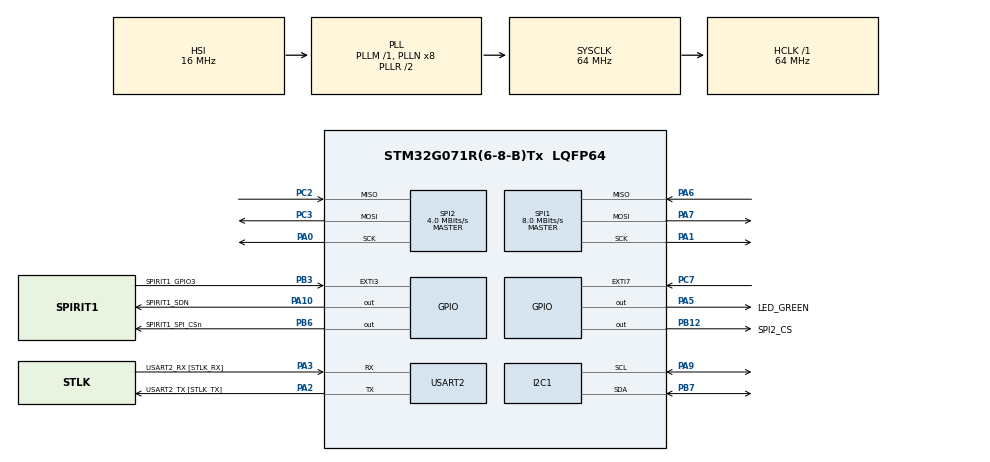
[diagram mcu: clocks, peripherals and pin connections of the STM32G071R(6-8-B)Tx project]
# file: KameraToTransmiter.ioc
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Dma.Request0=SPI2_RX
Dma.Request1=SPI1_TX
Dma.Request2=SPI2_TX
Dma.SPI1_TX.1.Direction=DMA_MEMORY_TO_PERIPH
Dma.SPI1_TX.1.EventEnable=DISABLE
Dma.SPI1_TX.1.Instance=DMA1_Channel4
Dma.SPI1_TX.1.MemDataAlignment=DMA_MDATAALIGN_BYTE
Dma.SPI1_TX.1.MemInc=DMA_MINC_ENABLE
Dma.SPI1_TX.1.Mode=DMA_NORMAL
Dma.SPI1_TX.1.PeriphDataAlignment=DMA_PDATAALIGN_BYTE
Dma.SPI1_TX.1.PeriphInc=DMA_PINC_DISABLE
Dma.SPI1_TX.1.Polarity=HAL_DMAMUX_REQ_GEN_RISING
Dma.SPI1_TX.1.Priority=DMA_PRIORITY_LOW
Dma.SPI1_TX.1.RequestNumber=1
Dma.SPI1_TX.1.SignalID=NONE
Dma.SPI1_TX.1.SyncEnable=DISABLE
Dma.SPI1_TX.1.SyncPolarity=HAL_DMAMUX_SYNC_NO_EVENT
Dma.SPI1_TX.1.SyncRequestNumber=1
Dma.SPI1_TX.1.SyncSignalID=NONE
Dma.SPI2_RX.0.Direction=DMA_PERIPH_TO_MEMORY
Dma.SPI2_RX.0.EventEnable=DISABLE
Dma.SPI2_RX.0.Instance=DMA1_Channel1
Dma.SPI2_RX.0.MemDataAlignment=DMA_MDATAALIGN_BYTE
Dma.SPI2_RX.0.MemInc=DMA_MINC_ENABLE
Dma.SPI2_RX.0.Mode=DMA_NORMAL
Dma.SPI2_RX.0.PeriphDataAlignment=DMA_PDATAALIGN_BYTE
Dma.SPI2_RX.0.PeriphInc=DMA_PINC_DISABLE
Dma.SPI2_RX.0.Polarity=HAL_DMAMUX_REQ_GEN_RISING
Dma.SPI2_RX.0.Priority=DMA_PRIORITY_LOW
Dma.SPI2_RX.0.RequestNumber=1
Dma.SPI2_RX.0.SignalID=NONE
Dma.SPI2_RX.0.SyncEnable=DISABLE
Dma.SPI2_RX.0.SyncPolarity=HAL_DMAMUX_SYNC_NO_EVENT
Dma.SPI2_RX.0.SyncRequestNumber=1
Dma.SPI2_RX.0.SyncSignalID=NONE
Dma.SPI2_TX.2.Direction=DMA_MEMORY_TO_PERIPH
Dma.SPI2_TX.2.EventEnable=DISABLE
Dma.SPI2_TX.2.Instance=DMA1_Channel2
Dma.SPI2_TX.2.MemDataAlignment=DMA_MDATAALIGN_BYTE
Dma.SPI2_TX.2.MemInc=DMA_MINC_ENABLE
Dma.SPI2_TX.2.Mode=DMA_NORMAL
Dma.SPI2_TX.2.PeriphDataAlignment=DMA_PDATAALIGN_BYTE
Dma.SPI2_TX.2.PeriphInc=DMA_PINC_DISABLE
Dma.SPI2_TX.2.Polarity=HAL_DMAMUX_REQ_GEN_RISING
Dma.SPI2_TX.2.Priority=DMA_PRIORITY_LOW
Dma.SPI2_TX.2.RequestNumber=1
Dma.SPI2_TX.2.SignalID=NONE
Dma.SPI2_TX.2.SyncEnable=DISABLE
Dma.SPI2_TX.2.SyncPolarity=HAL_DMAMUX_SYNC_NO_EVENT
Dma.SPI2_TX.2.SyncRequestNumber=1
Dma.SPI2_TX.2.SyncSignalID=NONE
I2C1.Timing=0x10707DBC
Mcu.Family=STM32G0
Mcu.Name=STM32G071R(6-8-B)Tx
Mcu.Package=LQFP64
NVIC.DMA1_Ch4_7_DMAMUX1_OVR_IRQn=true\:0\:0\:false\:false\:true\:false\:true\:true
NVIC.DMA1_Channel1_IRQn=true\:0\:0\:false\:false\:true\:false\:true\:true
NVIC.DMA1_Channel2_3_IRQn=true\:0\:0\:false\:false\:true\:false\:true\:true
NVIC.EXTI2_3_IRQn=true\:0\:0\:false\:false\:true\:true\:true\:true
PA0.Mode=Full_Duplex_Master
PA0.Signal=SPI2_SCK
PA1.Mode=Full_Duplex_Master
PA1.Signal=SPI1_SCK
PA10.GPIO_Label=SPIRIT1_SDN
PA10.Signal=GPIO_Output
PA13.GPIO_Label=TMS
PA13.Mode=Serial_Wire
PA13.Signal=SYS_SWDIO
PA14-BOOT0.GPIO_Label=TCK
PA14-BOOT0.Mode=Serial_Wire
PA14-BOOT0.Signal=SYS_SWCLK
PA2.GPIO_Label=USART2_TX [STLK_TX]
PA2.GPIO_PuPd=GPIO_PULLUP
PA2.Mode=Asynchronous
PA2.Signal=USART2_TX
PA3.GPIO_Label=USART2_RX [STLK_RX]
PA3.GPIO_PuPd=GPIO_PULLUP
PA3.Mode=Asynchronous
PA3.Signal=USART2_RX
PA5.GPIO_Label=LED_GREEN
PA5.GPIO_Speed=GPIO_SPEED_FREQ_HIGH
PA5.Signal=GPIO_Output
PA6.Mode=Full_Duplex_Master
PA6.Signal=SPI1_MISO
PA7.Mode=Full_Duplex_Master
PA7.Signal=SPI1_MOSI
PA9.Mode=I2C
PA9.Signal=I2C1_SCL
PB12.GPIO_Label=SPI2_CS
PB12.Signal=GPIO_Output
PB3.GPIO_Label=SPIRIT1_GPIO3
PB3.GPIO_ModeDefaultEXTI=GPIO_MODE_IT_FALLING
PB3.Signal=GPXTI3
PB6.GPIO_Label=SPIRIT1_SPI_CSn
PB6.Signal=GPIO_Output
PB7.Mode=I2C
PB7.Signal=I2C1_SDA
PC13.Mode=SYS_WakeUp1
PC13.Signal=SYS_WKUP2
PC14-OSC32_IN\ (PC14).Mode=LSE-External-Oscillator
PC14-OSC32_IN\ (PC14).Signal=RCC_OSC32_IN
PC15-OSC32_OUT\ (PC15).Mode=LSE-External-Oscillator
PC15-OSC32_OUT\ (PC15).Signal=RCC_OSC32_OUT
PC2.Mode=Full_Duplex_Master
PC2.Signal=SPI2_MISO
PC3.Mode=Full_Duplex_Master
PC3.Signal=SPI2_MOSI
PC7.Signal=GPXTI7
PF0-OSC_IN\ (PF0).GPIO_Label=MCO
PF0-OSC_IN\ (PF0).Mode=HSE-External-Clock-Source
PF0-OSC_IN\ (PF0).Signal=RCC_OSC_IN
ProjectManager.HeapSize=0x200
ProjectManager.StackSize=0x400
ProjectManager.TargetToolchain=STM32CubeIDE
RCC.ADCFreq_Value=64000000
RCC.AHBFreq_Value=64000000
RCC.CortexFreq_Value=64000000
RCC.EXTERNAL_CLOCK_VALUE=12288000
RCC.HCLKFreq_Value=64000000
RCC.HSE_VALUE=8000000
RCC.HSI_VALUE=16000000
RCC.SYSCLKFreq_VALUE=64000000
RCC.SYSCLKSource=RCC_SYSCLKSOURCE_PLLCLK
RCC.VCOOutputFreq_Value=128000000
SPI1.BaudRatePrescaler=SPI_BAUDRATEPRESCALER_8
SPI1.CalculateBaudRate=8.0 MBits/s
SPI1.DataSize=SPI_DATASIZE_8BIT
SPI1.Direction=SPI_DIRECTION_2LINES
SPI1.Mode=SPI_MODE_MASTER
SPI1.NSSPMode=SPI_NSS_PULSE_DISABLE
SPI1.VirtualType=VM_MASTER
SPI2.BaudRatePrescaler=SPI_BAUDRATEPRESCALER_16
SPI2.CalculateBaudRate=4.0 MBits/s
SPI2.DataSize=SPI_DATASIZE_8BIT
SPI2.Direction=SPI_DIRECTION_2LINES
SPI2.Mode=SPI_MODE_MASTER
SPI2.NSSPMode=SPI_NSS_PULSE_DISABLE
SPI2.VirtualType=VM_MASTER
USART2.VirtualMode-Asynchronous=VM_ASYNC
VP_SYS_VS_DBSignals.Mode=DisableDeadBatterySignals
board=NUCLEO-G071RB

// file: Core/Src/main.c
/* USER CODE BEGIN Header */
/**
  ******************************************************************************
  * @file           : main.c
  * @brief          : Main program body
  ******************************************************************************
  * @attention
  *
  * Copyright (c) 2023 STMicroelectronics.
  * All rights reserved.
  *
  * This software is licensed under terms that can be found in the LICENSE file
  * in the root directory of this software component.
  * If no LICENSE file comes with this software, it is provided AS-IS.
  *
  ******************************************************************************
  */
/* USER CODE END Header */
#include "main.h"
#include "dma.h"
#include "i2c.h"
#include "spi.h"
#include "usart.h"
#include "gpio.h"

/* USER CODE BEGIN Includes */
#include "SPIRIT_Config.h"
#include <string.h> /* memset */

#include "string.h"
#include "ArduCAM.h"
#include <stdbool.h>

/* USER CODE END Includes */

/* USER CODE BEGIN PD */

#define XTAL_FREQUENCY              50000000

/*  Radio configuration parameters  */
#define XTAL_OFFSET_PPM             0
//#define INFINITE_TIMEOUT            0.0
#define BASE_FREQUENCY              433.0e6
#define CHANNEL_SPACE               100e3
#define CHANNEL_NUMBER              0
#define MODULATION_SELECT           FSK
#define DATARATE                    38400
#define FREQ_DEVIATION              20e3
#define BANDWIDTH                   100E3

#define POWER_INDEX                 7
#define POWER_DBM                   11.6

//#define RECEIVE_TIMEOUT             2000.0 // change the value for required timeout period
#define RSSI_THRESHOLD              -120  // Default RSSI at reception, more than noise floor
//#define CSMA_RSSI_THRESHOLD         -90   // Higher RSSI to Transmit. If it's lower, the Channel will be seen as busy.

///*  Packet configuration parameters  */
#define PREAMBLE_LENGTH             PKT_PREAMBLE_LENGTH_04BYTES
#define SYNC_LENGTH                 PKT_SYNC_LENGTH_4BYTES
#define SYNC_WORD                   0x88888888
#define LENGTH_TYPE                 PKT_LENGTH_VAR
#define LENGTH_WIDTH                7
#define CRC_MODE                    PKT_CRC_MODE_8BITS
#define CONTROL_LENGTH              PKT_CONTROL_LENGTH_0BYTES
#define EN_ADDRESS                  S_ENABLE
#define EN_FEC                      S_DISABLE
#define EN_WHITENING                S_ENABLE

#define EN_FILT_MY_ADDRESS          S_ENABLE
#define EN_FILT_MULTICAST_ADDRESS   S_ENABLE
#define EN_FILT_BROADCAST_ADDRESS   S_ENABLE
#define MY_ADDRESS                  0x44
#define MULTICAST_ADDRESS           0xEE
#define BROADCAST_ADDRESS           0xFF

#define MAX_BUFFER_LEN              96
#define MAX_PAYLOAD_LEN             126 // (2^7 - 1) - 1 - 0 = 126 (LENGTH_WID=7, 1 address byte, & 0 control bytes)

/* USER CODE END PD */

void SystemClock_Config(void);
/* USER CODE BEGIN PFP */

void SPSGRF_Init(void);
void SPSGRF_StartTx(uint8_t *txBuff, uint8_t txLen);
void SPSGRF_StartRx(void);
uint8_t SPSGRF_GetRxData(uint8_t *rxBuff);

int wrSensorRegs16_8(const struct sensor_reg reglist[]);
void initCam();
uint8_t wrSensorReg16_8(int regID, int regDat);
uint8_t rdSensorReg16_8(uint16_t regID, uint8_t* regDat);
void write_reg(int address,int value);
uint8_t get_bit(uint8_t addr, uint8_t bit);
volatile bool checkForLastBit(uint8_t temp, uint8_t temp_last);
volatile bool checkForFirstBit(uint8_t temp, uint8_t temp_last);

/* USER CODE END PFP */

/* USER CODE BEGIN 0 */
volatile SpiritFlagStatus xTxDoneFlag;
volatile SpiritFlagStatus xRxDoneFlag;
/* USER CODE END 0 */

int main(void)
{
  /* USER CODE BEGIN 1 */
	uint8_t payload[40];
	uint8_t buffer_TX[40] = {0x00};
	uint8_t buffer_RX[40];

	uint8_t temp = 0;
	uint16_t count = 0;
	uint8_t spi_recv_buf = 0;
	uint8_t spi_buf;
	uint8_t tempData, tempData_last;

	uint8_t vid, pid;
  /* USER CODE END 1 */

  /* MCU Configuration--------------------------------------------------------*/

  /* Reset of all peripherals, Initializes the Flash interface and the Systick. */
  HAL_Init();

  /* Configure the system clock */
  SystemClock_Config();

  /* Initialize all configured peripherals */
  MX_GPIO_Init();
  MX_DMA_Init();
  MX_USART2_UART_Init();
  MX_I2C1_Init();
  MX_SPI1_Init();
  MX_SPI2_Init();
  /* USER CODE BEGIN 2 */

	//camera init
	HAL_GPIO_WritePin(GPIOB, SPI2_CS_Pin, GPIO_PIN_SET);
	HAL_Delay(100);
	//Check if SPI  communication with camera module is working
	while (spi_recv_buf != 0x55) {
		spi_buf = 0x00 | 0x80;
		HAL_GPIO_WritePin(GPIOB, SPI2_CS_Pin, GPIO_PIN_RESET);
		temp = HAL_SPI_TransmitReceive(&hspi2, &spi_buf, &spi_recv_buf, 1, 100);

		spi_buf = 0x55;
		temp = HAL_SPI_TransmitReceive(&hspi2, &spi_buf, &spi_recv_buf, 1, 100);
		HAL_GPIO_WritePin(GPIOB, SPI2_CS_Pin, GPIO_PIN_SET);

		spi_buf = 0x00;
		HAL_GPIO_WritePin(GPIOB, SPI2_CS_Pin, GPIO_PIN_RESET);
		temp = HAL_SPI_TransmitReceive(&hspi2, &spi_buf, &spi_recv_buf, 1, 100);

		spi_buf = 0x55;
		temp = HAL_SPI_TransmitReceive(&hspi2, &spi_buf, &spi_recv_buf, 1, 100);
		HAL_GPIO_WritePin(GPIOB, SPI2_CS_Pin, GPIO_PIN_SET);

		if (spi_recv_buf != 0x55) {
			HAL_GPIO_TogglePin(LED_GREEN_GPIO_Port, LED_GREEN_Pin); //Toogle diode to show if  Camera hasnt responded, or we dont recive correct data
			HAL_Delay(1000);
		} else {
			HAL_GPIO_TogglePin(LED_GREEN_GPIO_Port, LED_GREEN_Pin); //Tooge diode when Camera  responds correctly
			HAL_Delay(1000);

		}
	}
	//Check if the camera module type is OV5642
	wrSensorReg16_8(0xff, 0x01);
	rdSensorReg16_8(OV5642_CHIPID_HIGH, &vid);
	rdSensorReg16_8(OV5642_CHIPID_LOW, &pid);
	//Check if camera module responds
	if ((vid != 0x56) || (pid != 0x42)) {
		//Serial.println("Can't find OV5642 module!");
		while (1);
	}

	// init cam
	initCam();

	// Write ARDUCHIP_TIM, VSYNC_LEVEL_MASK to spi
	write_reg(ARDUCHIP_TIM, VSYNC_LEVEL_MASK);

	//Change picture size
	wrSensorRegs16_8(ov5642_2592x1944);

	// Close auto exposure mode
	//uint8_t _x3503;
	//wrSensorReg16_8(0x5001,_x3503|0x01);
	//Manually set the exposure value
	wrSensorReg16_8(0x3500, 0x00);
	wrSensorReg16_8(0x3501, 0x79);
	wrSensorReg16_8(0x3502, 0xe0);

	 /*
	 *
	 *
	 *
	 * Spirit 1 init
	 *
	 *
	 *
	 */

	SpiritEnterShutdown();
	SpiritExitShutdown();
	SpiritManagementWaExtraCurrent();

	do {
		for (volatile uint8_t i = 0; i != 0xFF; i++)
			; // delay for state transition
		SpiritRefreshStatus(); // reads the MC_STATUS register
	} while (g_xStatus.MC_STATE != MC_STATE_READY);

	SRadioInit xRadioInit;

	// Initialize radio RF parameters
	xRadioInit.nXtalOffsetPpm = XTAL_OFFSET_PPM;
	xRadioInit.lFrequencyBase = BASE_FREQUENCY;
	xRadioInit.nChannelSpace = CHANNEL_SPACE;
	xRadioInit.cChannelNumber = CHANNEL_NUMBER;
	xRadioInit.xModulationSelect = MODULATION_SELECT;
	xRadioInit.lDatarate = DATARATE;
	xRadioInit.lFreqDev = FREQ_DEVIATION;
	xRadioInit.lBandwidth = BANDWIDTH;
	SpiritRadioSetXtalFrequency(XTAL_FREQUENCY); // Must be called before SpiritRadioInit()
	SpiritRadioInit(&xRadioInit);

	// Set the transmitter power level
	SpiritRadioSetPALeveldBm(POWER_INDEX, POWER_DBM);
	SpiritRadioSetPALevelMaxIndex(POWER_INDEX);

	PktBasicInit xBasicInit;
	PktBasicAddressesInit xBasicAddress;

	// Configure packet handler to use the Basic packet format
	xBasicInit.xPreambleLength = PREAMBLE_LENGTH;
	xBasicInit.xSyncLength = SYNC_LENGTH;
	xBasicInit.lSyncWords = SYNC_WORD;
	xBasicInit.xFixVarLength = LENGTH_TYPE;
	xBasicInit.cPktLengthWidth = LENGTH_WIDTH;
	xBasicInit.xCrcMode = CRC_MODE;
	xBasicInit.xControlLength = CONTROL_LENGTH;
	xBasicInit.xAddressField = EN_ADDRESS;
	xBasicInit.xFec = EN_FEC;
	xBasicInit.xDataWhitening = EN_WHITENING;
	SpiritPktBasicInit(&xBasicInit);

	// Configure destination address criteria for automatic packet filtering
	xBasicAddress.xFilterOnMyAddress = EN_FILT_MY_ADDRESS;
	xBasicAddress.cMyAddress = MY_ADDRESS;
	xBasicAddress.xFilterOnMulticastAddress = EN_FILT_MULTICAST_ADDRESS;
	xBasicAddress.cMulticastAddress = MULTICAST_ADDRESS;
	xBasicAddress.xFilterOnBroadcastAddress = EN_FILT_BROADCAST_ADDRESS;
	xBasicAddress.cBroadcastAddress = BROADCAST_ADDRESS;
	SpiritPktBasicAddressesInit(&xBasicAddress);

	SGpioInit xGpioInit;

	// Configure GPIO3 as interrupt request pin (active low)
	xGpioInit.xSpiritGpioPin = SPIRIT_GPIO_3;
	xGpioInit.xSpiritGpioMode = SPIRIT_GPIO_MODE_DIGITAL_OUTPUT_LP;
	xGpioInit.xSpiritGpioIO = SPIRIT_GPIO_DIG_OUT_IRQ;
	SpiritGpioInit(&xGpioInit);

	// Generate an interrupt request for the following IRQs
	SpiritIrqDeInit(NULL);
	SpiritIrq(TX_DATA_SENT, S_ENABLE);
	SpiritIrq(RX_DATA_READY, S_ENABLE);
	SpiritIrq(RX_DATA_DISC, S_ENABLE);
	SpiritIrq(RX_TIMEOUT, S_ENABLE);
	SpiritIrqClearStatus();

	// Enable the synchronization quality indicator check (perfect match required)
	// NOTE: 9.10.4: "It is recommended to always enable the SQI check."
	SpiritQiSetSqiThreshold(SQI_TH_0);
	SpiritQiSqiCheck(S_ENABLE);

	// Set the RSSI Threshold for Carrier Sense (9.10.2)
	// NOTE: CS_MODE = 0 at reset
	SpiritQiSetRssiThresholddBm(RSSI_THRESHOLD);

	// Configure the RX timeout
#ifdef RECEIVE_TIMEOUT
	  SpiritTimerSetRxTimeoutMs(2000.0);
	  #else
	SET_INFINITE_RX_TIMEOUT();
#endif /* RECIEVE_TIMEOUT */
	SpiritTimerSetRxTimeoutStopCondition(SQI_ABOVE_THRESHOLD);

	SpiritPktBasicSetDestinationAddress(0x44);

  /* USER CODE END 2 */

  /* Infinite loop */
  while (1)
  {

    /* USER CODE BEGIN 3 */

		// camera code
		//Clear fifo flag
		write_reg(ARDUCHIP_FIFO, FIFO_CLEAR_MASK);

		// Start capture
		write_reg(ARDUCHIP_FIFO, FIFO_RDPTR_RST_MASK);

		///Flush FIFO buffer
		write_reg(ARDUCHIP_FIFO, FIFO_WRPTR_RST_MASK);

		//Clear fifo flag
		write_reg(ARDUCHIP_FIFO, FIFO_CLEAR_MASK);

		// Start capture
		write_reg(ARDUCHIP_FIFO, FIFO_START_MASK);

		//Wait for capture to be done
		while (get_bit(ARDUCHIP_TRIG, CAP_DONE_MASK) == 0);
		//HAL_Delay(2000);

		//Start to read data from FIFO
		//Set CS to low
		HAL_GPIO_WritePin(GPIOB, SPI2_CS_Pin, GPIO_PIN_RESET);
		//Send start command

		//spi_buf = BURST_FIFO_READ;
		spi_buf = SINGLE_FIFO_READ;
		temp = HAL_SPI_TransmitReceive(&hspi2, &spi_buf, &spi_recv_buf, 1, 100);

		//Read FIFO data
		spi_buf = 0x00;
		while(count < 200000){

			temp = HAL_SPI_TransmitReceive_DMA(&hspi2, buffer_TX,buffer_RX, 40);
			//payload[count] = spi_recv_buf;

			xTxDoneFlag = S_RESET;
			SPSGRF_StartTx(buffer_RX, sizeof(buffer_RX));
			while (!xTxDoneFlag)
				;
count = count+1;
		/*	for (int var = 0; var < 40; ++var) {

				if (!checkForFirstBit(buffer_RX[var], tempData_last)) {
					HAL_GPIO_TogglePin(LED_GREEN_GPIO_Port, LED_GREEN_Pin); //Reset LCD screen
				}

				if (!checkForLastBit(buffer_RX[var], tempData_last)) {
					break;
				}
				tempData_last = buffer_RX[var];
			}*/
			//memset(payload, '\0', sizeof(payload));
			memset(buffer_RX, '\0', sizeof(buffer_RX));

		};
		count = 0;

		HAL_GPIO_WritePin(GPIOB, SPI2_CS_Pin, GPIO_PIN_SET);

		HAL_GPIO_TogglePin(LED_GREEN_GPIO_Port, LED_GREEN_Pin);

		HAL_Delay(1000); // Block for 2000 ms

  }
  /* USER CODE END 3 */
}

void SystemClock_Config(void)
{
  RCC_OscInitTypeDef RCC_OscInitStruct = {0};
  RCC_ClkInitTypeDef RCC_ClkInitStruct = {0};

  /** Configure the main internal regulator output voltage
  */
  HAL_PWREx_ControlVoltageScaling(PWR_REGULATOR_VOLTAGE_SCALE1);

  /** Initializes the RCC Oscillators according to the specified parameters
  * in the RCC_OscInitTypeDef structure.
  */
  RCC_OscInitStruct.OscillatorType = RCC_OSCILLATORTYPE_HSI;
  RCC_OscInitStruct.HSIState = RCC_HSI_ON;
  RCC_OscInitStruct.HSIDiv = RCC_HSI_DIV1;
  RCC_OscInitStruct.HSICalibrationValue = RCC_HSICALIBRATION_DEFAULT;
  RCC_OscInitStruct.PLL.PLLState = RCC_PLL_ON;
  RCC_OscInitStruct.PLL.PLLSource = RCC_PLLSOURCE_HSI;
  RCC_OscInitStruct.PLL.PLLM = RCC_PLLM_DIV1;
  RCC_OscInitStruct.PLL.PLLN = 8;
  RCC_OscInitStruct.PLL.PLLP = RCC_PLLP_DIV2;
  RCC_OscInitStruct.PLL.PLLQ = RCC_PLLQ_DIV2;
  RCC_OscInitStruct.PLL.PLLR = RCC_PLLR_DIV2;
  if (HAL_RCC_OscConfig(&RCC_OscInitStruct) != HAL_OK)
  {
    Error_Handler();
  }

  /** Initializes the CPU, AHB and APB buses clocks
  */
  RCC_ClkInitStruct.ClockType = RCC_CLOCKTYPE_HCLK|RCC_CLOCKTYPE_SYSCLK
                              |RCC_CLOCKTYPE_PCLK1;
  RCC_ClkInitStruct.SYSCLKSource = RCC_SYSCLKSOURCE_PLLCLK;
  RCC_ClkInitStruct.AHBCLKDivider = RCC_SYSCLK_DIV1;
  RCC_ClkInitStruct.APB1CLKDivider = RCC_HCLK_DIV1;

  if (HAL_RCC_ClockConfig(&RCC_ClkInitStruct, FLASH_LATENCY_2) != HAL_OK)
  {
    Error_Handler();
  }
}

/* USER CODE BEGIN 4 */

void SPSGRF_StartTx(uint8_t *txBuff, uint8_t txLen) {
	// flush the TX FIFO
	SpiritCmdStrobeFlushTxFifo();

	// Avoid TX FIFO overflow
	//txLen = (txLen > MAX_BUFFER_LEN ? txLen : MAX_BUFFER_LEN);
	txLen = (txLen > MAX_BUFFER_LEN ? MAX_BUFFER_LEN : txLen);

	// start TX operation
	SpiritSpiWriteLinearFifo(txLen, txBuff);
	SpiritPktBasicSetPayloadLength(txLen);
	SpiritCmdStrobeTx();
}

void SPSGRF_StartRx(void) {
	SpiritCmdStrobeRx();
}

uint8_t SPSGRF_GetRxData(uint8_t *rxBuff) {
	uint8_t len;

	len = SpiritLinearFifoReadNumElementsRxFifo();
	SpiritSpiReadLinearFifo(len, rxBuff);

	return len;
}

void HAL_GPIO_EXTI_Falling_Callback(uint16_t GPIO_Pin) {
	SpiritIrqs xIrqStatus;

	if (GPIO_Pin != SPIRIT1_GPIO3_Pin) {
		return;
	}

	SpiritIrqGetStatus(&xIrqStatus);
	if (xIrqStatus.IRQ_TX_DATA_SENT) {
		xTxDoneFlag = S_SET;
	}
	if (xIrqStatus.IRQ_RX_DATA_READY) {
		xRxDoneFlag = S_SET;
	}
	if (xIrqStatus.IRQ_RX_DATA_DISC || xIrqStatus.IRQ_RX_TIMEOUT) {
		SpiritCmdStrobeRx();
	}
}

//camera functions

int wrSensorRegs16_8(const struct sensor_reg reglist[]) {

	unsigned int reg_addr;
	unsigned char reg_val;
	const struct sensor_reg *next = reglist;

	while ((reg_addr != 0xffff) | (reg_val != 0xff)) {

		reg_addr = pgm_read_word(&next->reg);
		reg_val = pgm_read_word(&next->val);

		wrSensorReg16_8(reg_addr, reg_val);

		next++;

	}
	return 1;
}

uint8_t rdSensorReg16_8(uint16_t regID, uint8_t *regDat) {

	uint8_t I2C_buf_register[2];

	I2C_buf_register[0] = regID >> 8;
	I2C_buf_register[1] = regID & 0x00FF;
	HAL_I2C_Master_Transmit(&hi2c1, 0x78, I2C_buf_register, 2, HAL_MAX_DELAY);

	HAL_I2C_Master_Receive(&hi2c1, 0x79, regDat, 1, HAL_MAX_DELAY);

	HAL_Delay(1);

	return 1;
}

uint8_t wrSensorReg16_8(int regID, int regDat) {
	uint8_t ret = 0;
	uint8_t I2C_buf_register[3];

	I2C_buf_register[0] = regID >> 8;
	I2C_buf_register[1] = regID & 0x00FF;
	I2C_buf_register[2] = regDat & 0x00FF;
	ret = HAL_I2C_Master_Transmit(&hi2c1, 0x78, I2C_buf_register, 3,
			HAL_MAX_DELAY);

	return 1;
}

void write_reg(int address, int value) {
	uint8_t temp = 0;
	uint8_t spi_recv_buf = 0;
	uint8_t spi_buf;

	spi_buf = address | 0x80;
	HAL_GPIO_WritePin(GPIOB, SPI2_CS_Pin, GPIO_PIN_RESET);
	temp = HAL_SPI_TransmitReceive(&hspi2, &spi_buf, &spi_recv_buf, 1, 100);

	spi_buf = value;
	temp = HAL_SPI_TransmitReceive(&hspi2, &spi_buf, &spi_recv_buf, 1, 100);
	HAL_GPIO_WritePin(GPIOB, SPI2_CS_Pin, GPIO_PIN_SET);

}

uint8_t read_reg(int address) {
	uint8_t temp = 0;
	uint8_t spi_recv_buf = 0;
	uint8_t spi_buf;

	spi_buf = address;
	HAL_GPIO_WritePin(GPIOB, SPI2_CS_Pin, GPIO_PIN_RESET);
	temp = HAL_SPI_TransmitReceive(&hspi2, &spi_buf, &spi_recv_buf, 1, 100);

	spi_buf = 0x00;
	temp = HAL_SPI_TransmitReceive(&hspi2, &spi_buf, &spi_recv_buf, 1, 100);
	HAL_GPIO_WritePin(GPIOB, SPI2_CS_Pin, GPIO_PIN_SET);
	return spi_recv_buf;

}

uint8_t get_bit(uint8_t addr, uint8_t bit) {
	uint8_t temp;
	temp = read_reg(addr & 0x7F);
	temp = temp & bit;
	return temp;
}

bool checkForLastBit(uint8_t temp, uint8_t temp_last) {
	if (temp != 0xD9) {
		return true;
	}
	if (temp_last != 0xFF) {
		return true;
	}
	return false;
}

bool checkForFirstBit(uint8_t temp, uint8_t temp_last) {
	if (temp != 0xD8) {
		return true;
	}
	if (temp_last != 0xFF) {
		return true;
	}
	return false;
}

void initCam() {

	wrSensorReg16_8(0x3008, 0x80);
	wrSensorRegs16_8(OV5642_QVGA_Preview);

	HAL_Delay(200);

	wrSensorRegs16_8(OV5642_JPEG_Capture_QSXGA);
	wrSensorRegs16_8(ov5642_320x240);
	HAL_Delay(100);

	wrSensorReg16_8(0x3818, 0xa8);
	wrSensorReg16_8(0x3621, 0x10);
	wrSensorReg16_8(0x3801, 0xb0);
	wrSensorReg16_8(0x4407, 0x08);
	wrSensorReg16_8(0x5888, 0x00);
	wrSensorReg16_8(0x5000, 0xFF);
}

/* USER CODE END 4 */

void Error_Handler(void)
{
  __disable_irq();
  while (1)
  {
  }
}
